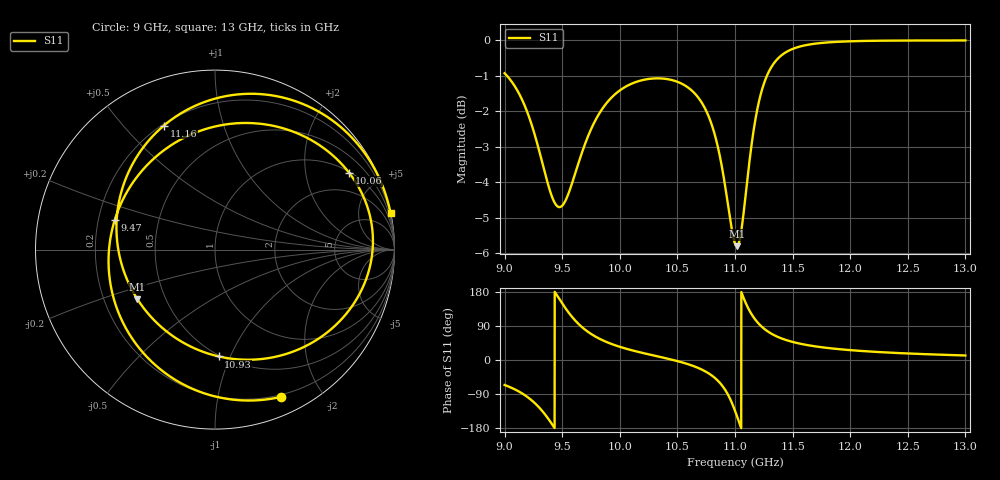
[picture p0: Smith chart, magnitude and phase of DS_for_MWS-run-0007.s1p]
! TOUCHSTONE file generated by CST DESIGN STUDIO
! Date and time: Tue Feb  4 14:07:51 2025
! Project name: C:\Work\MatlabApps\UnitCellOptimizationMatlab\CST\unitcell.cst
! Tree item: Tasks\Sweep1\SPara1\S-Parameters
! Header version: 2024
! Port assignment regex: !\s*Touchstone port\s*([0-9]+)\s*=\s*(CST MWS port|CST DES external port|CST DES block port)\s*(.+)\s* \(\"(.*)\"\)(\s*mode\s*([0-9]+))?.*
! Touchstone port assignment:
! Touchstone port 1 = CST DES external port 1 ("")
# GHz S MA R 50
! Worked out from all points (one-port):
!   4001 points, 9 GHz to 13 GHz, reference 50 ohm
!   lowest |S11| = -5.8 dB at 11.02 GHz (marker M1), VSWR 3.11, Z = 17.3 - j13 ohm
!   |S11| at or under -10 dB: nowhere
!   S11 on the Smith chart (normalised r, x): 9 GHz: 0.18, -1.53; 9.47 GHz: 0.27, +0.14; 10.06 GHz: 1.05, +3.48; 10.93 GHz: 0.49, -0.91; 11.16 GHz: 0.21, +0.65; 13 GHz: 0.02, +9.57
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9  0.8987 -65.9
9.144  0.8298 -86.7
9.25  0.747 -110.4
9.373  0.6301 -152.5
9.47  0.5824 163.3
9.5  0.585 149.3
9.59  0.6323 112.1
9.686  0.7057 83.1
9.833  0.7941 54.7
10  0.85 34.8
10.056  0.8614 29.7
10.271  0.883 13.5
10.5  0.8741 -2.9
10.65  0.8419 -17.2
10.762  0.7878 -33.5
10.85  0.7092 -54.3
10.933  0.5954 -88.1
11  0.5171 -133.9
11.016  0.513 -147.3
11.083  0.5866 157.6
11.162  0.7474 112.4
11.229  0.846 88.8
11.318  0.9182 69.0
11.5  0.9724 47.7
11.702  0.9895 35.7
12  0.9968 26.0
12.5  0.9993 17.2
13  0.9995 11.9
